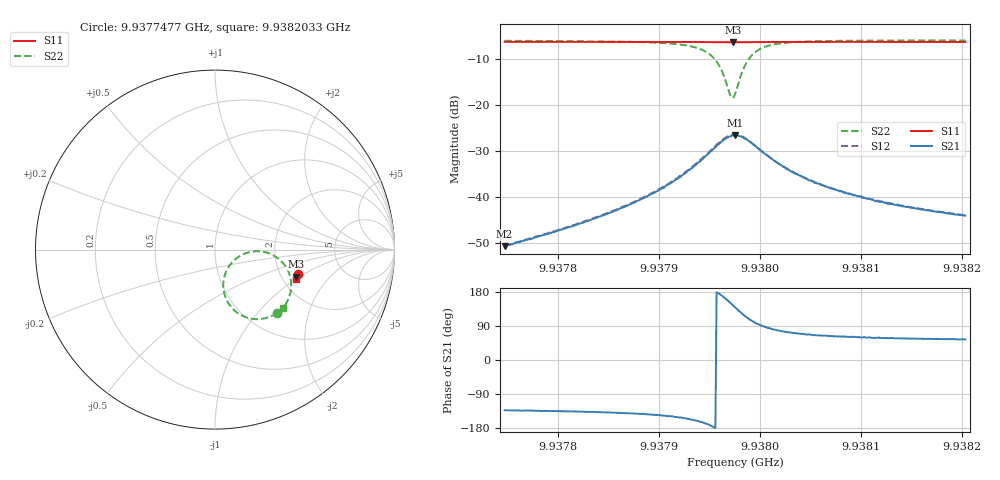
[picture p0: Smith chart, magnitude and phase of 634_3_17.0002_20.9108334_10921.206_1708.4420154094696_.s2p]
#  HZ  S  RI  R  50.00
! Rohde & Schwarz Vector Network Analyzer
! Rohde-Schwarz,ZNB20-2Port,1311601062101988,3.16
! Created: UTC 3/20/2024, 11:20:28 PM
! freq[Hz]  re:S11  im:S11  re:S21  im:S21  re:S12  im:S12  re:S22  im:S22
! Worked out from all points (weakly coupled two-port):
!   401 points, 9.9377477 GHz to 9.9382033 GHz, reference 50 ohm
!   highest |S21| = -26.59 dB at 9.9379755 GHz (marker M1); lowest = -50.6 dB at 9.9377477 GHz (marker M2)
!   lowest |S11| = -6.5 dB at 9.9379732 GHz (marker M3), VSWR 2.81, Z = 119 - j46.3 ohm
!   |S11| at or under -10 dB: nowhere
!   |S22| runs from -18.5 to -6.1 dB; largest |S21 - S12| = 0.0022
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9.93774766e9  0.4616 -0.1378  -0.002 -0.00216  -0.00208 -0.00216  0.3467 -0.3516
9.93782398e9  0.4595 -0.143  -0.00382 -0.00359  -0.00391 -0.0036  0.3264 -0.3644
9.93786613e9  0.4582 -0.146  -0.00601 -0.00501  -0.00621 -0.00503  0.3043 -0.3746
9.9379003e9  0.457 -0.1485  -0.00979 -0.00671  -0.0101 -0.0067  0.2695 -0.3846
9.93793106e9  0.4552 -0.1508  -0.0182 -0.00789  -0.0188 -0.00799  0.1982 -0.384
9.93794929e9  0.4535 -0.1519  -0.0292 -0.00501  -0.03 -0.00428  0.1128 -0.3425
9.93795498e9  0.4527 -0.152  -0.0339 -0.00132  -0.035 -0.000485  0.08 -0.3064
9.93795954e9  0.4519 -0.1517  -0.0374 0.00318  -0.0386 0.00444  0.0574 -0.2633
9.9379641e9  0.4513 -0.1513  -0.0402 0.0098  -0.0412 0.0113  0.0462 -0.2057
9.93797093e9  0.4509 -0.1503  -0.0398 0.0223  -0.0402 0.0243  0.0706 -0.1051
9.93797321e9  0.4509 -0.15  -0.0381 0.0265  -0.038 0.0286  0.0926 -0.0741
9.93797549e9  0.4511 -0.1495  -0.0355 0.0305  -0.0349 0.0325  0.1208 -0.0477
9.93798004e9  0.4516 -0.149  -0.0282 0.0362  -0.0272 0.0379  0.188 -0.0152
9.93798574e9  0.4526 -0.1488  -0.0181 0.0387  -0.0169 0.04  0.2714 -0.0126
9.93799144e9  0.4535 -0.1491  -0.00962 0.0374  -0.0084 0.0383  0.3355 -0.0378
9.93799713e9  0.4543 -0.1497  -0.00363 0.0344  -0.00258 0.0347  0.3768 -0.0727
9.93801536e9  0.455 -0.1519  0.00433 0.0239  0.00513 0.024  0.4221 -0.1675
9.93803245e9  0.4547 -0.1536  0.00596 0.0176  0.00632 0.0178  0.4237 -0.2191
9.93805181e9  0.4544 -0.1555  0.00613 0.0136  0.00631 0.0136  0.417 -0.2525
9.93808599e9  0.4536 -0.158  0.0052 0.0097  0.00557 0.00961  0.4043 -0.2842
9.93812813e9  0.4524 -0.161  0.00461 0.00722  0.00475 0.00719  0.3926 -0.3042
9.93820332e9  0.4502 -0.1661  0.00368 0.0051  0.0038 0.00509  0.3792 -0.3229
